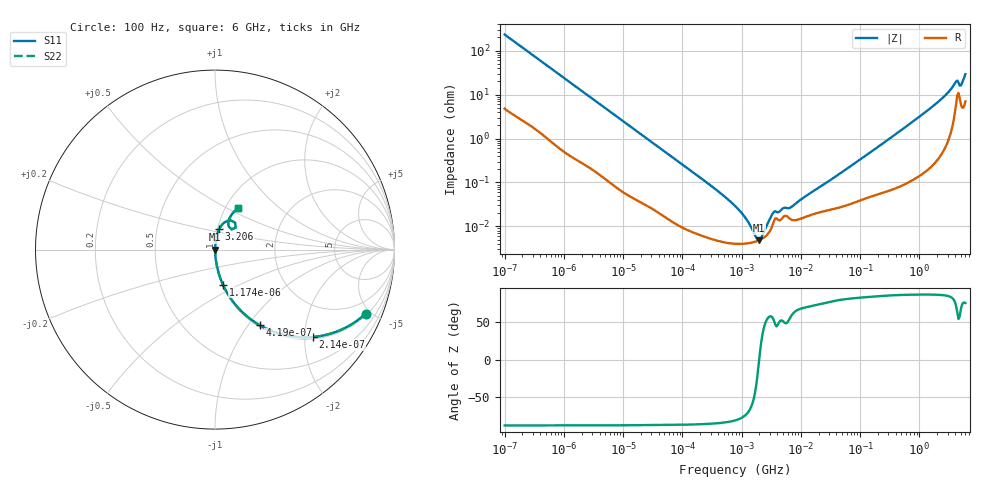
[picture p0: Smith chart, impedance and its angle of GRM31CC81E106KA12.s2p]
!Murata Part Number: GRM31CC81E106KA12
!These Parameters are Measured in Series Mode Connection
!Data Generated on Mar 30, 2021
!  o--ll--o
!Port1  Port2
!  o------o
!Operation Temp=25[degC], DC Bias Voltage=0[V]
!Freq. Start=100[Hz] Stop=6[GHz] 401[Steps]
# Hz S RI R 50
!Freq.(Hz) S11(Real) S11(Imag) S21(Real) S21(Imag) S12(Real) S12(Imag) S22(Real) S22(Imag)
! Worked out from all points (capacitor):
!   401 points, 100 Hz to 6 GHz, reference 50 ohm
!   read as one part in series: C = 6.8 uF near 109 Hz
!   lowest |Z| = 4.86 mohm at 1.983 MHz (marker M1)
!   S11 on the Smith chart (normalised r, x): 100 Hz: 1.10, -4.66; 214 Hz: 1.05, -2.20; 419 Hz: 1.03, -1.13; 1.174 kHz: 1.01, -0.41; 3.206 GHz: 1.02, +0.24; 6 GHz: 1.14, +0.56
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100  0.8395 -0.357  0.1605 0.357  0.1605 0.357  0.8395 -0.357
214  0.546 -0.4869  0.454 0.4869  0.454 0.4869  0.546 -0.4869
419  0.2486 -0.421  0.7514 0.421  0.7514 0.421  0.2486 -0.421
686  0.1138 -0.3072  0.8862 0.3072  0.8862 0.3072  0.1138 -0.3072
1174  0.0442 -0.1953  0.9558 0.1953  0.9558 0.1953  0.0442 -0.1953
2008  0.017 -0.1184  0.983 0.1184  0.983 0.1184  0.017 -0.1184
6433  0.00239 -0.0383  0.9976 0.0383  0.9976 0.0383  0.00239 -0.0383
40335  0.000241 -0.0063  0.9998 0.0063  0.9998 0.0063  0.000241 -0.0063
330837  5.1e-05 -0.000773  0.9999 0.000773  0.9999 0.000773  5.1e-05 -0.000773
774597  4.04e-05 -0.000291  1 0.000291  1 0.000291  4.04e-05 -0.000291
1449809  4.25e-05 -8.66e-05  1 8.66e-05  1 8.66e-05  4.25e-05 -8.66e-05
1983483  4.86e-05 0  1 0  1 0  4.86e-05 0
2594782  6.13e-05 7.78e-05  0.9999 -7.78e-05  0.9999 -7.78e-05  6.13e-05 7.78e-05
3549919  0.000135 0.00017  0.9999 -0.00017  0.9999 -0.00017  0.000135 0.00017
6948629  0.000142 0.000238  0.9999 -0.000238  0.9999 -0.000238  0.000142 0.000238
1.555665e7  0.000187 0.000582  0.9998 -0.000582  0.9998 -0.000582  0.000187 0.000582
3.124326e8  0.000749 0.00986  0.9993 -0.00986  0.9993 -0.00986  0.000749 0.00986
1.565993e9  0.00469 0.0495  0.9953 -0.0495  0.9953 -0.0495  0.00469 0.0495
3.205649e9  0.024 0.1153  0.976 -0.1153  0.976 -0.1153  0.024 0.1153
4.009986e9  0.0662 0.1592  0.9338 -0.1592  0.9338 -0.1592  0.0662 0.1592
5.016141e9  0.0761 0.1285  0.9239 -0.1285  0.9239 -0.1285  0.0761 0.1285
6e9  0.1264 0.2306  0.8736 -0.2306  0.8736 -0.2306  0.1264 0.2306
